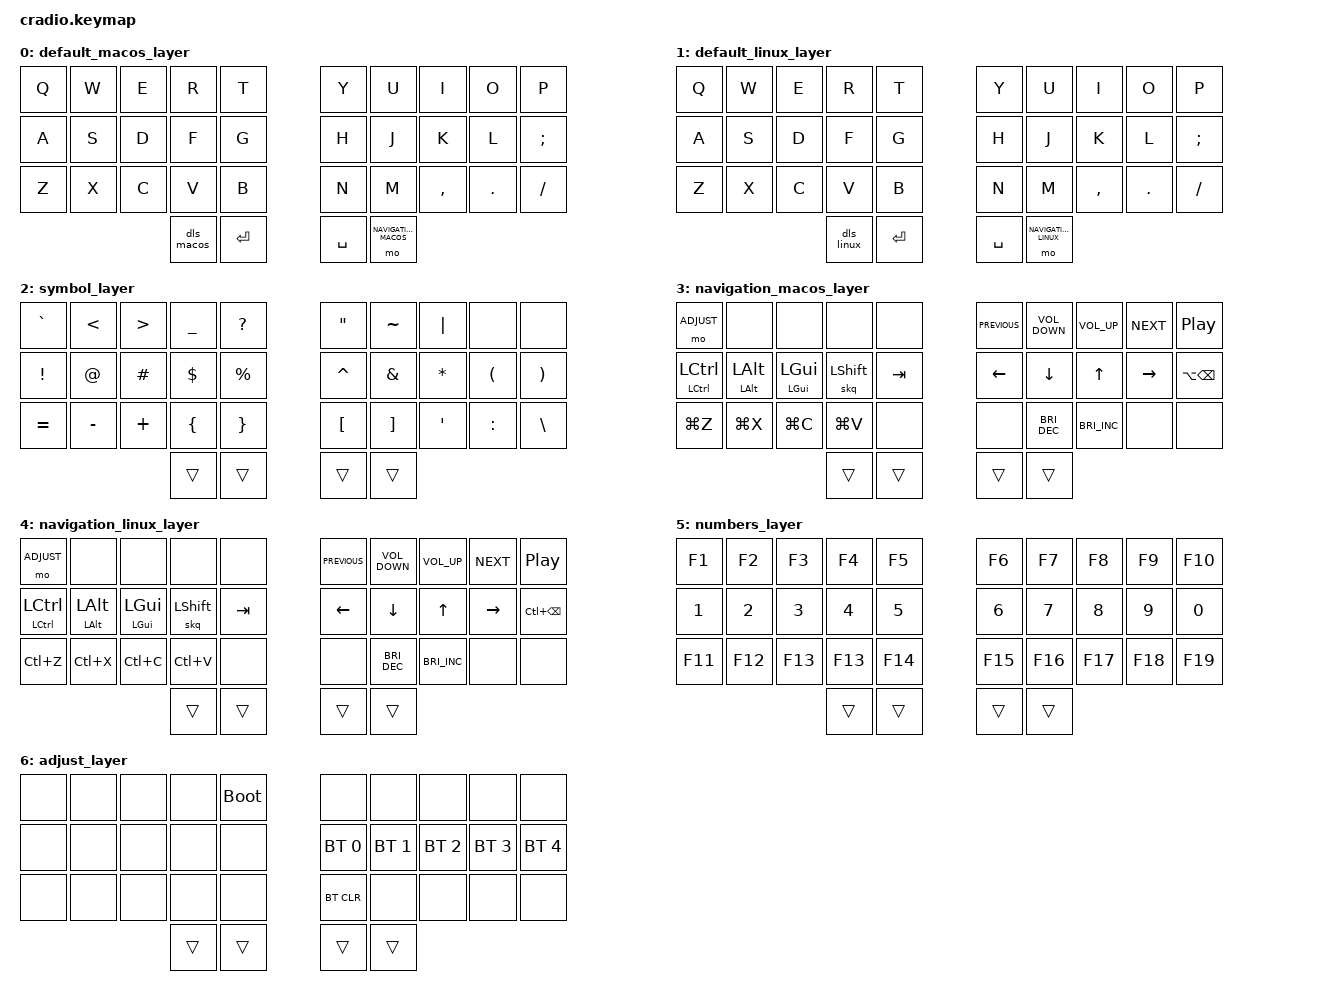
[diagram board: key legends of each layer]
/*
 *
 * SPDX-License-Identifier: MIT
 */

 #include <behaviors.dtsi>
 #include <dt-bindings/zmk/keys.h>
 #include <dt-bindings/zmk/bt.h>

#define DEFAULT_MACOS 0
#define DEFAULT_LINUX 1
#define SYMBOLS 2
#define NAVIGATION_MACOS 3
#define NAVIGATION_LINUX 4
#define NUMBERS 5
#define ADJUST 6
#define DEFAULT_TIMEOUT 15
#define LONGER_TIMEOUT 50

#define COMBO(NAME, BINDINGS, KEYPOS, TIMEOUT, LAYERS) \
combo_##NAME { \
    timeout-ms = <TIMEOUT>; \
    bindings = <BINDINGS>; \
    key-positions = <KEYPOS>; \
    require-prior-idle-ms = <110>; \
    layers = <LAYERS>; \
};

/ {

    behaviors {
        isk: intuitive_sk {
            compatible = "zmk,behavior-hold-tap";
            #binding-cells = <2>;
            flavor = "balanced";
            tapping-term-ms = <200>;
            bindings = <&kp>, <&sk>;
        };
        skq: sticky_key_quick_release {
            compatible = "zmk,behavior-sticky-key";
            #binding-cells = <1>;
            bindings = <&kp>;
            release-after-ms = <1000>;
            quick-release;
        };
        dls_macos: double_layer_switch_macos {
            compatible = "zmk,behavior-tap-dance";
            #binding-cells = <0>;
            tapping-term-ms = <200>;
            bindings = <&mo SYMBOLS>, <&sl NAVIGATION_MACOS>;
        };
        dls_linux: double_layer_switch_linux {
            compatible = "zmk,behavior-tap-dance";
            #binding-cells = <0>;
            tapping-term-ms = <200>;
            bindings = <&mo SYMBOLS>, <&sl NAVIGATION_LINUX>;
        };
    };

    conditional_layers {
        compatible = "zmk,conditional-layers";
        tri_macos_layer {
            if-layers = <SYMBOLS NAVIGATION_MACOS>;
            then-layer = <NUMBERS>;
        };
        tri_linux_layer {
            if-layers = <SYMBOLS NAVIGATION_LINUX>;
            then-layer = <NUMBERS>;
        };
    };

    combos {
        compatible = "zmk,combos";
        COMBO(sqt, &kp SQT, 12 13, DEFAULT_TIMEOUT, DEFAULT_MACOS DEFAULT_LINUX SYMBOLS NAVIGATION_MACOS NAVIGATION_LINUX NUMBERS ADJUST)
        COMBO(esc, &kp ESC, 2 3, DEFAULT_TIMEOUT, DEFAULT_MACOS DEFAULT_LINUX SYMBOLS NAVIGATION_MACOS NAVIGATION_LINUX NUMBERS ADJUST)
        COMBO(caps_word, &caps_word, 20 29, LONGER_TIMEOUT, DEFAULT_MACOS DEFAULT_LINUX SYMBOLS NAVIGATION_MACOS NAVIGATION_LINUX NUMBERS ADJUST)
        COMBO(bspc, &kp BSPC, 6 7, LONGER_TIMEOUT, DEFAULT_MACOS DEFAULT_LINUX SYMBOLS NAVIGATION_MACOS NAVIGATION_LINUX NUMBERS ADJUST)
        COMBO(toggle_linux, &tog DEFAULT_LINUX, 10 19, LONGER_TIMEOUT, DEFAULT_MACOS DEFAULT_LINUX)
        COMBO(tmux_prefix, &kp LC(S), 10 11, DEFAULT_TIMEOUT, DEFAULT_MACOS DEFAULT_LINUX)
        COMBO(tmux_session_prefix, &kp LA(S), 11 12, DEFAULT_TIMEOUT, DEFAULT_MACOS DEFAULT_LINUX)
        COMBO(screen_shot_capture, &kp LG(LS(N4)), 22 23, DEFAULT_TIMEOUT, DEFAULT_MACOS)
        COMBO(screen_shot_capture_settings, &kp LG(LS(N5)), 23 24, DEFAULT_TIMEOUT, DEFAULT_MACOS)
    };
// ______________________________  ____________________________
// |  0  |   1 |  2  |  3  |  4  \/   5 |   6 |  7 |  8 |   9 |
// | 10  |  11 | 12  | 13  | 14  /\  15 |  16 | 17 | 18 |  19 |
// | 20  |  21 | 22  | 23  | 24 /  \ 25 |  26 | 27 | 28 |  29 |
//                   | 30  | 31/    \32 |  33 |
//                       ------      ------

    keymap {
        compatible = "zmk,keymap";

        default_macos_layer {
            bindings = <
                &kp Q &kp W &kp E &kp R       &kp T          &kp Y   &kp U &kp I     &kp O   &kp P
                &kp A &kp S &kp D &kp F       &kp G          &kp H   &kp J &kp K     &kp L   &kp SEMI
                &kp Z &kp X &kp C &kp V       &kp B          &kp N   &kp M &kp COMMA &kp DOT &kp SLASH
                                  &dls_macos  &kp ENTER      &kp SPC &mo NAVIGATION_MACOS
            >;
        };

        default_linux_layer {
            bindings = <
                &kp Q &kp W &kp E &kp R       &kp T          &kp Y   &kp U &kp I     &kp O   &kp P
                &kp A &kp S &kp D &kp F       &kp G          &kp H   &kp J &kp K     &kp L   &kp SEMI
                &kp Z &kp X &kp C &kp V       &kp B          &kp N   &kp M &kp COMMA &kp DOT &kp SLASH
                                  &dls_linux  &kp ENTER      &kp SPC &mo NAVIGATION_LINUX
            >;
        };

        symbol_layer {
            bindings = <
                &kp GRAVE &kp LT    &kp GT   &kp UNDER   &kp QMARK         &kp DQT   &kp TILDE &kp PIPE       &none    &none
                &kp EXCL  &kp AT    &kp HASH &kp DLLR &kp PRCNT            &kp CARET &kp AMPS &kp ASTERISK &kp LPAR  &kp RPAR
                &kp EQUAL &kp MINUS &kp PLUS &kp LBRC &kp RBRC             &kp LBKT  &kp RBKT &kp SQT      &kp COLON &kp BSLH
                                             &trans   &trans               &trans    &trans
            >;
        };

        navigation_macos_layer {
            bindings = <
                &mo ADJUST        &none           &none           &none       &none           &kp C_PREVIOUS &kp C_VOLUME_DOWN    &kp C_VOLUME_UP      &kp C_NEXT &kp C_PLAY_PAUSE
                &isk LCTRL LCTRL  &isk LALT LALT  &isk LGUI LGUI  &skq LSHIFT &kp TAB         &kp LEFT       &kp DOWN             &kp UP               &kp RIGHT  &kp LA(BSPC)
                &kp LG(Z)         &kp LG(X)       &kp LG(C)       &kp LG(V)   &none           &none          &kp C_BRIGHTNESS_DEC &kp C_BRIGHTNESS_INC &none      &none
                                               &trans      &trans          &trans         &trans
            >;
        };

        navigation_linux_layer {
            bindings = <
                &mo ADJUST        &none           &none           &none       &none           &kp C_PREVIOUS &kp C_VOLUME_DOWN    &kp C_VOLUME_UP      &kp C_NEXT &kp C_PLAY_PAUSE
                &isk LCTRL LCTRL  &isk LALT LALT  &isk LGUI LGUI  &skq LSHIFT &kp TAB         &kp LEFT       &kp DOWN             &kp UP               &kp RIGHT  &kp LC(BSPC)
                &kp LC(Z)         &kp LC(X)       &kp LC(C)       &kp LC(V)   &none           &none          &kp C_BRIGHTNESS_DEC &kp C_BRIGHTNESS_INC &none      &none
                                                  &trans      &trans          &trans         &trans
            >;
        };

        numbers_layer {
            bindings = <
                &kp F1  &kp F2  &kp F3  &kp F4  &kp F5     &kp F6  &kp F7  &kp F8  &kp F9  &kp F10
                &kp N1  &kp N2  &kp N3  &kp N4  &kp N5     &kp N6  &kp N7  &kp N8  &kp N9  &kp N0
                &kp F11 &kp F12 &kp F13 &kp F13 &kp F14    &kp F15 &kp F16 &kp F17 &kp F18 &kp F19
                                        &trans  &trans     &trans  &trans

            >;
        };

        adjust_layer {
            bindings = <
            &none  &none  &none  &none   &bootloader       &none        &none        &none        &none        &none
            &none  &none  &none  &none   &none             &bt BT_SEL 0 &bt BT_SEL 1 &bt BT_SEL 2 &bt BT_SEL 3 &bt BT_SEL 4
            &none  &none  &none  &none   &none             &bt BT_CLR   &none        &none        &none        &none
                                    &trans  &trans            &trans       &trans
            >;
        };

    };
};
